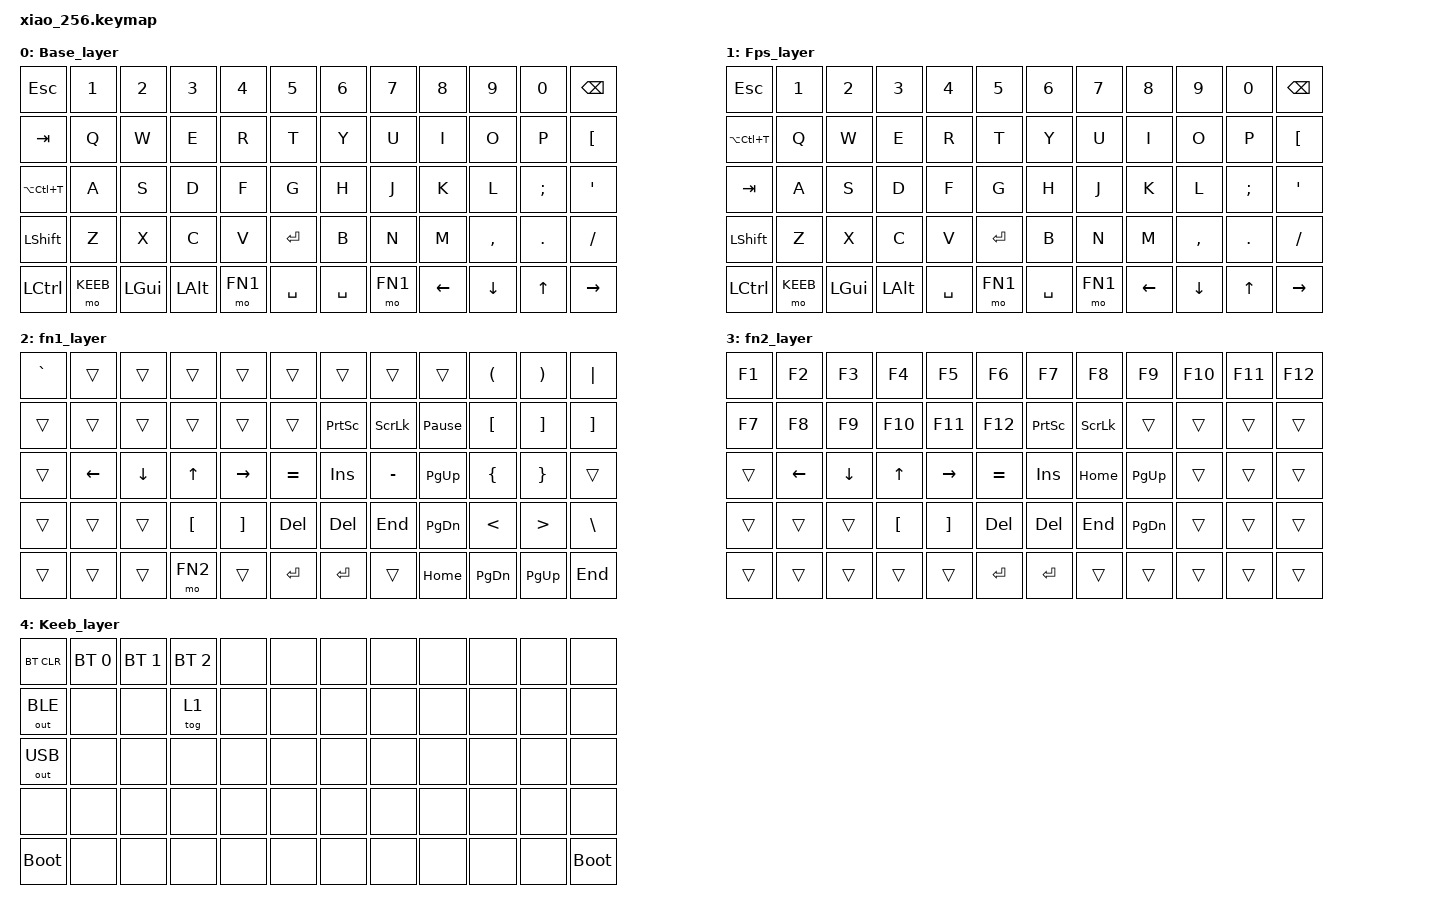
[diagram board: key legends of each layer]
#include <behaviors.dtsi>
#include <dt-bindings/zmk/reset.h>
#include <dt-bindings/zmk/bt.h>
#include <dt-bindings/zmk/keys.h>
#include <dt-bindings/zmk/outputs.h>

#define BASE 0
#define FPS 1
#define FN1 2
#define FN2 3
#define KEEB 4

/ {
    keymap {
        compatible = "zmk,keymap";

        Base_layer {
            bindings = <
				&kp ESC        &kp N1    &kp N2    &kp N3   &kp N4     &kp N5     &kp N6   &kp N7    &kp N8     &kp N9    &kp N0     &kp BSPC
				&kp TAB        &kp Q     &kp W     &kp E    &kp R      &kp T      &kp Y    &kp U     &kp I      &kp O     &kp P      &kp LBKT
				&kp LA(LC(T))  &kp A     &kp S     &kp D     &kp F    &kp G      &kp H      &kp J    &kp K     &kp L      &kp SEMI   &kp SQT  
				&kp LSHFT      &kp Z     &kp X     &kp C     &kp V    &kp ENTER  &kp B      &kp N    &kp M     &kp COMMA  &kp DOT   &kp SLASH  
				&kp LCTRL      &mo KEEB  &kp LGUI  &kp LALT  &mo FN1  &kp SPACE  &kp SPACE  &mo FN1  &kp LEFT  &kp DOWN   &kp UP    &kp RIGHT
            >;
        };

        Fps_layer {
            bindings = <
				&kp ESC        &kp N1    &kp N2    &kp N3    &kp N4     &kp N5     &kp N6     &kp N7   &kp N8    &kp N9     &kp N0    &kp BSPC
				&kp LA(LC(T))  &kp Q     &kp W     &kp E     &kp R      &kp T      &kp Y      &kp U    &kp I     &kp O      &kp P     &kp LBKT
				&kp TAB        &kp A     &kp S     &kp D     &kp F      &kp G      &kp H      &kp J    &kp K     &kp L      &kp SEMI  &kp SQT
				&kp LSHFT      &kp Z     &kp X     &kp C     &kp V      &kp ENTER  &kp B      &kp N    &kp M     &kp COMMA  &kp DOT   &kp SLASH
				&kp LCTRL      &mo KEEB  &kp LGUI  &kp LALT  &kp SPACE  &mo FN1    &kp SPACE  &mo FN1  &kp LEFT  &kp DOWN   &kp UP    &kp RIGHT
            >;
        };

        fn1_layer {
            bindings = <
				&kp GRAVE  &trans    &trans    &trans    &trans     &trans      &trans      &trans    &trans           &kp LPAR  &kp RPAR  &kp PIPE
				&trans     &trans    &trans    &trans    &trans     &trans      &kp PSCRN   &kp SLCK  &kp PAUSE_BREAK  &kp LBKT  &kp RBKT  &kp RBKT
				&trans     &kp LEFT  &kp DOWN  &kp UP    &kp RIGHT  &kp EQUAL   &kp INSERT  &kp MINUS  &kp PG_UP        &kp LBRC  &kp RBRC  &trans
				&trans     &trans    &trans    &kp LBKT  &kp RBKT   &kp DEL     &kp DEL     &kp END   &kp PG_DN        &kp LT    &kp GT    &kp BSLH
				&trans     &trans    &trans    &mo FN2   &trans     &kp RETURN  &kp RETURN  &trans    &kp HOME       &kp PG_DN  &kp PG_UP  &kp END
            >;
        };

        fn2_layer {
            bindings = <
				&kp F1  &kp F2    &kp F3    &kp F4    &kp F5     &kp F6      &kp F7      &kp F8    &kp F9     &kp F10  &kp F11  &kp F12
				&kp F7  &kp F8    &kp F9    &kp F10   &kp F11    &kp F12     &kp PSCRN   &kp SLCK  &trans     &trans   &trans   &trans
				&trans  &kp LEFT  &kp DOWN  &kp UP    &kp RIGHT  &kp EQUAL   &kp INSERT  &kp HOME  &kp PG_UP  &trans   &trans   &trans
				&trans  &trans    &trans    &kp LBKT  &kp RBKT   &kp DEL     &kp DEL     &kp END   &kp PG_DN  &trans   &trans   &trans
				&trans  &trans    &trans    &trans    &trans     &kp RETURN  &kp RETURN  &trans    &trans     &trans   &trans   &trans
            >;
        };

        Keeb_layer {
            bindings = <
				&bt BT_CLR    &bt BT_SEL 0  &bt BT_SEL 1  &bt BT_SEL 2  &none  &none  &none  &none  &none  &none  &none  &none
				&out OUT_BLE  &none         &none         &tog 1        &none  &none  &none  &none  &none  &none  &none  &none
				&out OUT_USB  &none         &none         &none         &none  &none  &none  &none  &none  &none  &none  &none
				&none         &none         &none         &none         &none  &none  &none  &none  &none  &none  &none  &none
				&bootloader   &none         &none         &none         &none  &none  &none  &none  &none  &none  &none  &bootloader
            >;
        };
    };
};
